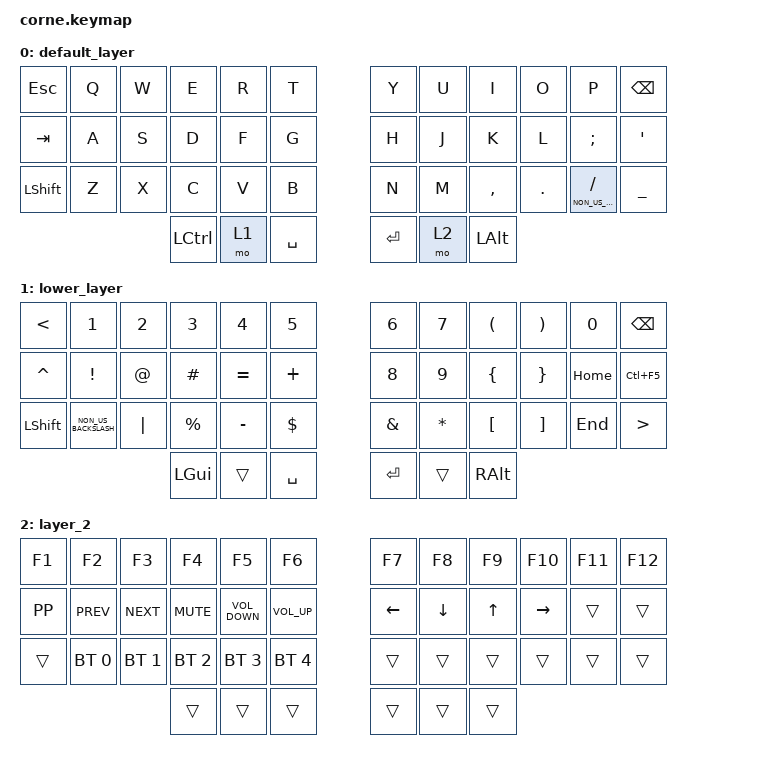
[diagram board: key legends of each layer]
/*
 * Copyright (c) 2020 The ZMK Contributors
 *
 * SPDX-License-Identifier: MIT
 */

#include <behaviors.dtsi>
#include <dt-bindings/zmk/bt.h>
#include <dt-bindings/zmk/keys.h>

/ {
    combos {
        compatible = "zmk,combos";

        combo_esc {
            timeout-ms = <50>;
            key-positions = <0 1>;
            bindings = <&kp ESC>;
        };
    };

    behaviors {
        ss_hs_modmorph: ss_hs_modmorph {
            compatible = "zmk,behavior-mod-morph";
            label = "SS_HS_MODMORPH";
            bindings = <&kp M>, <&kp RIGHT_BRACKET>;

            #binding-cells = <0>;
            mods = <(MOD_LSFT|MOD_RSFT)>;
        };

        kh_hs_tapdance: kh_hs_tapdance {
            compatible = "zmk,behavior-tap-dance";
            label = "KH_HS_TAPDANCE";
            #binding-cells = <0>;
            tapping-term-ms = <200>;
            bindings = <&kp LEFT_BRACKET>, <&kp RIGHT_BRACKET>;
        };

        hrm: hrm {
            compatible = "zmk,behavior-hold-tap";
            #binding-cells = <2>;
            flavor = "tap-preferred";
            tapping-term-ms = <200>;
            quick-tap-ms = <200>;
            require-prior-idle-ms = <125>;
            bindings = <&kp>, <&kp>;
        };
    };

    keymap {
        compatible = "zmk,keymap";

        default_layer {
            // -----------------------------------------------------------------------------------------
            // |  TAB |  Q  |  W  |  E  |  R  |  T  |   |  Y  |  U   |  I  |  O  |  P  | BKSP |
            // | CTRL |  A  |  S  |  D  |  F  |  G  |   |  H  |  J   |  K  |  L  |  ;  |  '   |
            // | SHFT |  Z  |  X  |  C  |  V  |  B  |   |  N  |  M   |  ,  |  .  |  /  | ESC  |
            //                    | GUI | LWR | SPC |   | ENT | RSE  | ALT |

            bindings = <
&kp ESC    &kp Q  &kp W  &kp E      &kp R  &kp T        &kp Y    &kp U  &kp I         &kp O    &kp P                       &kp BSPC
&kp TAB    &kp A  &kp S  &kp D      &kp F  &kp G        &kp H    &kp J  &kp K         &kp L    &kp SEMI                    &kp SQT
&kp LSHFT  &kp Z  &kp X  &kp C      &kp V  &kp B        &kp N    &kp M  &kp COMMA     &kp DOT  &mt NON_US_BACKSLASH SLASH  &kp UNDER
                         &kp LCTRL  &mo 1  &kp SPACE    &kp RET  &mo 2  &kp LEFT_ALT
            >;
        };

        lower_layer {
            // -----------------------------------------------------------------------------------------
            // |  TAB |  1  |  2  |  3  |  4  |  5  |   |  6  |  7  |  8  |  9  |  0  | BKSP |
            // | BTCLR| BT1 | BT2 | BT3 | BT4 | BT5 |   | LFT | DWN |  UP | RGT |     |      |
            // | SHFT |     |     |     |     |     |   |     |     |     |     |     |      |
            //                    | GUI |     | SPC |   | ENT |     | ALT |

            bindings = <
&kp LESS_THAN   &kp N1                &kp N2       &kp N3       &kp N4     &kp N5        &kp N6         &kp N7        &kp LEFT_PARENTHESIS  &kp RIGHT_PARENTHESIS  &kp N0    &kp BACKSPACE
&kp CARET       &kp EXCLAMATION       &kp AT_SIGN  &kp HASH     &kp EQUAL  &kp PLUS      &kp N8         &kp N9        &kp LEFT_BRACE        &kp RIGHT_BRACE        &kp HOME  &kp LC(F5)
&kp LEFT_SHIFT  &kp NON_US_BACKSLASH  &kp PIPE     &kp PERCENT  &kp MINUS  &kp DOLLAR    &kp AMPERSAND  &kp ASTERISK  &kp LEFT_BRACKET      &kp RIGHT_BRACKET      &kp END   &kp GREATER_THAN
                                                   &kp LGUI     &trans     &kp SPACE     &kp RET        &trans        &kp RALT
            >;
        };

        layer_2 {
            bindings = <
&kp F1    &kp F2        &kp F3        &kp F4        &kp F5             &kp F6             &kp F7    &kp F8    &kp F9  &kp F10    &kp F11  &kp F12
&kp K_PP  &kp K_PREV    &kp K_NEXT    &kp K_MUTE    &kp C_VOLUME_DOWN  &kp C_VOLUME_UP    &kp LEFT  &kp DOWN  &kp UP  &kp RIGHT  &trans   &trans
&trans    &bt BT_SEL 0  &bt BT_SEL 1  &bt BT_SEL 2  &bt BT_SEL 3       &bt BT_SEL 4       &trans    &trans    &trans  &trans     &trans   &trans
                                      &trans        &trans             &trans             &trans    &trans    &trans
            >;
        };
    };
};
